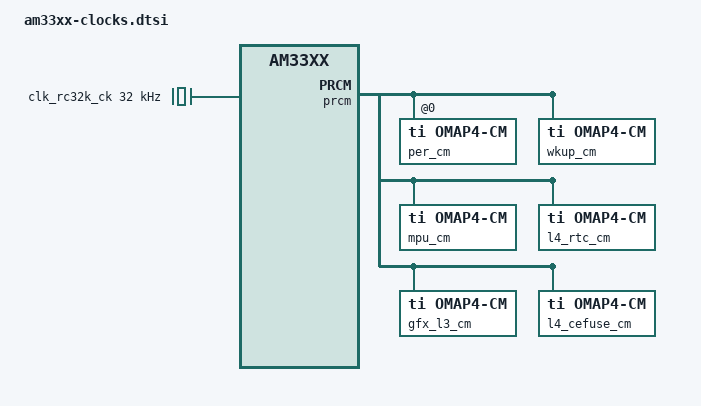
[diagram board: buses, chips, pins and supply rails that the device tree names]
// SPDX-License-Identifier: GPL-2.0-only
/*
 * Device Tree Source for AM33xx clock data
 *
 * Copyright (C) 2013 Texas Instruments, Inc.
 */
&scm_clocks {
	sys_clkin_ck: sys_clkin_ck@40 {
		#clock-cells = <0>;
		compatible = "ti,mux-clock";
		clocks = <&virt_19200000_ck>, <&virt_24000000_ck>, <&virt_25000000_ck>, <&virt_26000000_ck>;
		ti,bit-shift = <22>;
		reg = <0x0040>;
	};

	adc_tsc_fck: adc_tsc_fck {
		#clock-cells = <0>;
		compatible = "fixed-factor-clock";
		clocks = <&sys_clkin_ck>;
		clock-mult = <1>;
		clock-div = <1>;
	};

	dcan0_fck: dcan0_fck {
		#clock-cells = <0>;
		compatible = "fixed-factor-clock";
		clocks = <&sys_clkin_ck>;
		clock-mult = <1>;
		clock-div = <1>;
	};

	dcan1_fck: dcan1_fck {
		#clock-cells = <0>;
		compatible = "fixed-factor-clock";
		clocks = <&sys_clkin_ck>;
		clock-mult = <1>;
		clock-div = <1>;
	};

	mcasp0_fck: mcasp0_fck {
		#clock-cells = <0>;
		compatible = "fixed-factor-clock";
		clocks = <&sys_clkin_ck>;
		clock-mult = <1>;
		clock-div = <1>;
	};

	mcasp1_fck: mcasp1_fck {
		#clock-cells = <0>;
		compatible = "fixed-factor-clock";
		clocks = <&sys_clkin_ck>;
		clock-mult = <1>;
		clock-div = <1>;
	};

	smartreflex0_fck: smartreflex0_fck {
		#clock-cells = <0>;
		compatible = "fixed-factor-clock";
		clocks = <&sys_clkin_ck>;
		clock-mult = <1>;
		clock-div = <1>;
	};

	smartreflex1_fck: smartreflex1_fck {
		#clock-cells = <0>;
		compatible = "fixed-factor-clock";
		clocks = <&sys_clkin_ck>;
		clock-mult = <1>;
		clock-div = <1>;
	};

	sha0_fck: sha0_fck {
		#clock-cells = <0>;
		compatible = "fixed-factor-clock";
		clocks = <&sys_clkin_ck>;
		clock-mult = <1>;
		clock-div = <1>;
	};

	aes0_fck: aes0_fck {
		#clock-cells = <0>;
		compatible = "fixed-factor-clock";
		clocks = <&sys_clkin_ck>;
		clock-mult = <1>;
		clock-div = <1>;
	};

	rng_fck: rng_fck {
		#clock-cells = <0>;
		compatible = "fixed-factor-clock";
		clocks = <&sys_clkin_ck>;
		clock-mult = <1>;
		clock-div = <1>;
	};

	ehrpwm0_tbclk: ehrpwm0_tbclk@44e10664 {
		#clock-cells = <0>;
		compatible = "ti,gate-clock";
		clocks = <&l4ls_gclk>;
		ti,bit-shift = <0>;
		reg = <0x0664>;
	};

	ehrpwm1_tbclk: ehrpwm1_tbclk@44e10664 {
		#clock-cells = <0>;
		compatible = "ti,gate-clock";
		clocks = <&l4ls_gclk>;
		ti,bit-shift = <1>;
		reg = <0x0664>;
	};

	ehrpwm2_tbclk: ehrpwm2_tbclk@44e10664 {
		#clock-cells = <0>;
		compatible = "ti,gate-clock";
		clocks = <&l4ls_gclk>;
		ti,bit-shift = <2>;
		reg = <0x0664>;
	};
};
&prcm_clocks {
	clk_32768_ck: clk_32768_ck {
		#clock-cells = <0>;
		compatible = "fixed-clock";
		clock-frequency = <32768>;
	};

	clk_rc32k_ck: clk_rc32k_ck {
		#clock-cells = <0>;
		compatible = "fixed-clock";
		clock-frequency = <32000>;
	};

	virt_19200000_ck: virt_19200000_ck {
		#clock-cells = <0>;
		compatible = "fixed-clock";
		clock-frequency = <19200000>;
	};

	virt_24000000_ck: virt_24000000_ck {
		#clock-cells = <0>;
		compatible = "fixed-clock";
		clock-frequency = <24000000>;
	};

	virt_25000000_ck: virt_25000000_ck {
		#clock-cells = <0>;
		compatible = "fixed-clock";
		clock-frequency = <25000000>;
	};

	virt_26000000_ck: virt_26000000_ck {
		#clock-cells = <0>;
		compatible = "fixed-clock";
		clock-frequency = <26000000>;
	};

	tclkin_ck: tclkin_ck {
		#clock-cells = <0>;
		compatible = "fixed-clock";
		clock-frequency = <12000000>;
	};

	dpll_core_ck: dpll_core_ck@490 {
		#clock-cells = <0>;
		compatible = "ti,am3-dpll-core-clock";
		clocks = <&sys_clkin_ck>, <&sys_clkin_ck>;
		reg = <0x0490>, <0x045c>, <0x0468>, <0x0460>, <0x0464>;
	};

	dpll_core_x2_ck: dpll_core_x2_ck {
		#clock-cells = <0>;
		compatible = "ti,am3-dpll-x2-clock";
		clocks = <&dpll_core_ck>;
	};

	dpll_core_m4_ck: dpll_core_m4_ck@480 {
		#clock-cells = <0>;
		compatible = "ti,divider-clock";
		clocks = <&dpll_core_x2_ck>;
		ti,max-div = <31>;
		reg = <0x0480>;
		ti,index-starts-at-one;
	};

	dpll_core_m5_ck: dpll_core_m5_ck@484 {
		#clock-cells = <0>;
		compatible = "ti,divider-clock";
		clocks = <&dpll_core_x2_ck>;
		ti,max-div = <31>;
		reg = <0x0484>;
		ti,index-starts-at-one;
	};

	dpll_core_m6_ck: dpll_core_m6_ck@4d8 {
		#clock-cells = <0>;
		compatible = "ti,divider-clock";
		clocks = <&dpll_core_x2_ck>;
		ti,max-div = <31>;
		reg = <0x04d8>;
		ti,index-starts-at-one;
	};

	dpll_mpu_ck: dpll_mpu_ck@488 {
		#clock-cells = <0>;
		compatible = "ti,am3-dpll-clock";
		clocks = <&sys_clkin_ck>, <&sys_clkin_ck>;
		reg = <0x0488>, <0x0420>, <0x042c>, <0x0424>, <0x0428>;
	};

	dpll_mpu_m2_ck: dpll_mpu_m2_ck@4a8 {
		#clock-cells = <0>;
		compatible = "ti,divider-clock";
		clocks = <&dpll_mpu_ck>;
		ti,max-div = <31>;
		reg = <0x04a8>;
		ti,index-starts-at-one;
	};

	dpll_ddr_ck: dpll_ddr_ck@494 {
		#clock-cells = <0>;
		compatible = "ti,am3-dpll-no-gate-clock";
		clocks = <&sys_clkin_ck>, <&sys_clkin_ck>;
		reg = <0x0494>, <0x0434>, <0x0440>, <0x0438>, <0x043c>;
	};

	dpll_ddr_m2_ck: dpll_ddr_m2_ck@4a0 {
		#clock-cells = <0>;
		compatible = "ti,divider-clock";
		clocks = <&dpll_ddr_ck>;
		ti,max-div = <31>;
		reg = <0x04a0>;
		ti,index-starts-at-one;
	};

	dpll_ddr_m2_div2_ck: dpll_ddr_m2_div2_ck {
		#clock-cells = <0>;
		compatible = "fixed-factor-clock";
		clocks = <&dpll_ddr_m2_ck>;
		clock-mult = <1>;
		clock-div = <2>;
	};

	dpll_disp_ck: dpll_disp_ck@498 {
		#clock-cells = <0>;
		compatible = "ti,am3-dpll-no-gate-clock";
		clocks = <&sys_clkin_ck>, <&sys_clkin_ck>;
		reg = <0x0498>, <0x0448>, <0x0454>, <0x044c>, <0x0450>;
	};

	dpll_disp_m2_ck: dpll_disp_m2_ck@4a4 {
		#clock-cells = <0>;
		compatible = "ti,divider-clock";
		clocks = <&dpll_disp_ck>;
		ti,max-div = <31>;
		reg = <0x04a4>;
		ti,index-starts-at-one;
		ti,set-rate-parent;
	};

	dpll_per_ck: dpll_per_ck@48c {
		#clock-cells = <0>;
		compatible = "ti,am3-dpll-no-gate-j-type-clock";
		clocks = <&sys_clkin_ck>, <&sys_clkin_ck>;
		reg = <0x048c>, <0x0470>, <0x049c>, <0x0474>, <0x0478>;
	};

	dpll_per_m2_ck: dpll_per_m2_ck@4ac {
		#clock-cells = <0>;
		compatible = "ti,divider-clock";
		clocks = <&dpll_per_ck>;
		ti,max-div = <31>;
		reg = <0x04ac>;
		ti,index-starts-at-one;
	};

	dpll_per_m2_div4_wkupdm_ck: dpll_per_m2_div4_wkupdm_ck {
		#clock-cells = <0>;
		compatible = "fixed-factor-clock";
		clocks = <&dpll_per_m2_ck>;
		clock-mult = <1>;
		clock-div = <4>;
	};

	dpll_per_m2_div4_ck: dpll_per_m2_div4_ck {
		#clock-cells = <0>;
		compatible = "fixed-factor-clock";
		clocks = <&dpll_per_m2_ck>;
		clock-mult = <1>;
		clock-div = <4>;
	};

	clk_24mhz: clk_24mhz {
		#clock-cells = <0>;
		compatible = "fixed-factor-clock";
		clocks = <&dpll_per_m2_ck>;
		clock-mult = <1>;
		clock-div = <8>;
	};

	clkdiv32k_ck: clkdiv32k_ck {
		#clock-cells = <0>;
		compatible = "fixed-factor-clock";
		clocks = <&clk_24mhz>;
		clock-mult = <1>;
		clock-div = <732>;
	};

	l3_gclk: l3_gclk {
		#clock-cells = <0>;
		compatible = "fixed-factor-clock";
		clocks = <&dpll_core_m4_ck>;
		clock-mult = <1>;
		clock-div = <1>;
	};

	pruss_ocp_gclk: pruss_ocp_gclk@530 {
		#clock-cells = <0>;
		compatible = "ti,mux-clock";
		clocks = <&l3_gclk>, <&dpll_disp_m2_ck>;
		reg = <0x0530>;
	};

	mmu_fck: mmu_fck@914 {
		#clock-cells = <0>;
		compatible = "ti,gate-clock";
		clocks = <&dpll_core_m4_ck>;
		ti,bit-shift = <1>;
		reg = <0x0914>;
	};

	timer1_fck: timer1_fck@528 {
		#clock-cells = <0>;
		compatible = "ti,mux-clock";
		clocks = <&sys_clkin_ck>, <&clk_24mhz_clkctrl AM3_CLK_24MHZ_CLKDIV32K_CLKCTRL 0>, <&tclkin_ck>, <&clk_rc32k_ck>, <&clk_32768_ck>;
		reg = <0x0528>;
	};

	timer2_fck: timer2_fck@508 {
		#clock-cells = <0>;
		compatible = "ti,mux-clock";
		clocks = <&tclkin_ck>, <&sys_clkin_ck>, <&clk_24mhz_clkctrl AM3_CLK_24MHZ_CLKDIV32K_CLKCTRL 0>;
		reg = <0x0508>;
	};

	timer3_fck: timer3_fck@50c {
		#clock-cells = <0>;
		compatible = "ti,mux-clock";
		clocks = <&tclkin_ck>, <&sys_clkin_ck>, <&clk_24mhz_clkctrl AM3_CLK_24MHZ_CLKDIV32K_CLKCTRL 0>;
		reg = <0x050c>;
	};

	timer4_fck: timer4_fck@510 {
		#clock-cells = <0>;
		compatible = "ti,mux-clock";
		clocks = <&tclkin_ck>, <&sys_clkin_ck>, <&clk_24mhz_clkctrl AM3_CLK_24MHZ_CLKDIV32K_CLKCTRL 0>;
		reg = <0x0510>;
	};

	timer5_fck: timer5_fck@518 {
		#clock-cells = <0>;
		compatible = "ti,mux-clock";
		clocks = <&tclkin_ck>, <&sys_clkin_ck>, <&clk_24mhz_clkctrl AM3_CLK_24MHZ_CLKDIV32K_CLKCTRL 0>;
		reg = <0x0518>;
	};

	timer6_fck: timer6_fck@51c {
		#clock-cells = <0>;
		compatible = "ti,mux-clock";
		clocks = <&tclkin_ck>, <&sys_clkin_ck>, <&clk_24mhz_clkctrl AM3_CLK_24MHZ_CLKDIV32K_CLKCTRL 0>;
		reg = <0x051c>;
	};

	timer7_fck: timer7_fck@504 {
		#clock-cells = <0>;
		compatible = "ti,mux-clock";
		clocks = <&tclkin_ck>, <&sys_clkin_ck>, <&clk_24mhz_clkctrl AM3_CLK_24MHZ_CLKDIV32K_CLKCTRL 0>;
		reg = <0x0504>;
	};

	usbotg_fck: usbotg_fck@47c {
		#clock-cells = <0>;
		compatible = "ti,gate-clock";
		clocks = <&dpll_per_ck>;
		ti,bit-shift = <8>;
		reg = <0x047c>;
	};

	dpll_core_m4_div2_ck: dpll_core_m4_div2_ck {
		#clock-cells = <0>;
		compatible = "fixed-factor-clock";
		clocks = <&dpll_core_m4_ck>;
		clock-mult = <1>;
		clock-div = <2>;
	};

	ieee5000_fck: ieee5000_fck@e4 {
		#clock-cells = <0>;
		compatible = "ti,gate-clock";
		clocks = <&dpll_core_m4_div2_ck>;
		ti,bit-shift = <1>;
		reg = <0x00e4>;
	};

	wdt1_fck: wdt1_fck@538 {
		#clock-cells = <0>;
		compatible = "ti,mux-clock";
		clocks = <&clk_rc32k_ck>, <&clk_24mhz_clkctrl AM3_CLK_24MHZ_CLKDIV32K_CLKCTRL 0>;
		reg = <0x0538>;
	};

	l4_rtc_gclk: l4_rtc_gclk {
		#clock-cells = <0>;
		compatible = "fixed-factor-clock";
		clocks = <&dpll_core_m4_ck>;
		clock-mult = <1>;
		clock-div = <2>;
	};

	l4hs_gclk: l4hs_gclk {
		#clock-cells = <0>;
		compatible = "fixed-factor-clock";
		clocks = <&dpll_core_m4_ck>;
		clock-mult = <1>;
		clock-div = <1>;
	};

	l3s_gclk: l3s_gclk {
		#clock-cells = <0>;
		compatible = "fixed-factor-clock";
		clocks = <&dpll_core_m4_div2_ck>;
		clock-mult = <1>;
		clock-div = <1>;
	};

	l4fw_gclk: l4fw_gclk {
		#clock-cells = <0>;
		compatible = "fixed-factor-clock";
		clocks = <&dpll_core_m4_div2_ck>;
		clock-mult = <1>;
		clock-div = <1>;
	};

	l4ls_gclk: l4ls_gclk {
		#clock-cells = <0>;
		compatible = "fixed-factor-clock";
		clocks = <&dpll_core_m4_div2_ck>;
		clock-mult = <1>;
		clock-div = <1>;
	};

	sysclk_div_ck: sysclk_div_ck {
		#clock-cells = <0>;
		compatible = "fixed-factor-clock";
		clocks = <&dpll_core_m4_ck>;
		clock-mult = <1>;
		clock-div = <1>;
	};

	cpsw_125mhz_gclk: cpsw_125mhz_gclk {
		#clock-cells = <0>;
		compatible = "fixed-factor-clock";
		clocks = <&dpll_core_m5_ck>;
		clock-mult = <1>;
		clock-div = <2>;
	};

	cpsw_cpts_rft_clk: cpsw_cpts_rft_clk@520 {
		#clock-cells = <0>;
		compatible = "ti,mux-clock";
		clocks = <&dpll_core_m5_ck>, <&dpll_core_m4_ck>;
		reg = <0x0520>;
	};

	gpio0_dbclk_mux_ck: gpio0_dbclk_mux_ck@53c {
		#clock-cells = <0>;
		compatible = "ti,mux-clock";
		clocks = <&clk_rc32k_ck>, <&clk_32768_ck>, <&clk_24mhz_clkctrl AM3_CLK_24MHZ_CLKDIV32K_CLKCTRL 0>;
		reg = <0x053c>;
	};

	lcd_gclk: lcd_gclk@534 {
		#clock-cells = <0>;
		compatible = "ti,mux-clock";
		clocks = <&dpll_disp_m2_ck>, <&dpll_core_m5_ck>, <&dpll_per_m2_ck>;
		reg = <0x0534>;
		ti,set-rate-parent;
	};

	mmc_clk: mmc_clk {
		#clock-cells = <0>;
		compatible = "fixed-factor-clock";
		clocks = <&dpll_per_m2_ck>;
		clock-mult = <1>;
		clock-div = <2>;
	};

	gfx_fclk_clksel_ck: gfx_fclk_clksel_ck@52c {
		#clock-cells = <0>;
		compatible = "ti,mux-clock";
		clocks = <&dpll_core_m4_ck>, <&dpll_per_m2_ck>;
		ti,bit-shift = <1>;
		reg = <0x052c>;
	};

	gfx_fck_div_ck: gfx_fck_div_ck@52c {
		#clock-cells = <0>;
		compatible = "ti,divider-clock";
		clocks = <&gfx_fclk_clksel_ck>;
		reg = <0x052c>;
		ti,max-div = <2>;
	};

	sysclkout_pre_ck: sysclkout_pre_ck@700 {
		#clock-cells = <0>;
		compatible = "ti,mux-clock";
		clocks = <&clk_32768_ck>, <&l3_gclk>, <&dpll_ddr_m2_ck>, <&dpll_per_m2_ck>, <&lcd_gclk>;
		reg = <0x0700>;
	};

	clkout2_div_ck: clkout2_div_ck@700 {
		#clock-cells = <0>;
		compatible = "ti,divider-clock";
		clocks = <&sysclkout_pre_ck>;
		ti,bit-shift = <3>;
		ti,max-div = <8>;
		reg = <0x0700>;
	};

	clkout2_ck: clkout2_ck@700 {
		#clock-cells = <0>;
		compatible = "ti,gate-clock";
		clocks = <&clkout2_div_ck>;
		ti,bit-shift = <7>;
		reg = <0x0700>;
	};
};

&prcm {
	per_cm: per-cm@0 {
		compatible = "ti,omap4-cm";
		reg = <0x0 0x400>;
		#address-cells = <1>;
		#size-cells = <1>;
		ranges = <0 0x0 0x400>;

		l4ls_clkctrl: l4ls-clkctrl@38 {
			compatible = "ti,clkctrl";
			reg = <0x38 0x2c>, <0x6c 0x28>, <0xac 0xc>, <0xc0 0x1c>, <0xec 0xc>, <0x10c 0x8>, <0x130 0x4>;
			#clock-cells = <2>;
		};

		l3s_clkctrl: l3s-clkctrl@1c {
			compatible = "ti,clkctrl";
			reg = <0x1c 0x4>, <0x30 0x8>, <0x68 0x4>, <0xf8 0x4>;
			#clock-cells = <2>;
		};

		l3_clkctrl: l3-clkctrl@24 {
			compatible = "ti,clkctrl";
			reg = <0x24 0xc>, <0x94 0x10>, <0xbc 0x4>, <0xdc 0x8>, <0xfc 0x8>;
			#clock-cells = <2>;
		};

		l4hs_clkctrl: l4hs-clkctrl@120 {
			compatible = "ti,clkctrl";
			reg = <0x120 0x4>;
			#clock-cells = <2>;
		};

		pruss_ocp_clkctrl: pruss-ocp-clkctrl@e8 {
			compatible = "ti,clkctrl";
			reg = <0xe8 0x4>;
			#clock-cells = <2>;
		};

		cpsw_125mhz_clkctrl: cpsw-125mhz-clkctrl@0 {
			compatible = "ti,clkctrl";
			reg = <0x0 0x18>;
			#clock-cells = <2>;
		};

		lcdc_clkctrl: lcdc-clkctrl@18 {
			compatible = "ti,clkctrl";
			reg = <0x18 0x4>;
			#clock-cells = <2>;
		};

		clk_24mhz_clkctrl: clk-24mhz-clkctrl@14c {
			compatible = "ti,clkctrl";
			reg = <0x14c 0x4>;
			#clock-cells = <2>;
		};
	};

	wkup_cm: wkup-cm@400 {
		compatible = "ti,omap4-cm";
		reg = <0x400 0x100>;
		#address-cells = <1>;
		#size-cells = <1>;
		ranges = <0 0x400 0x100>;

		l4_wkup_clkctrl: l4-wkup-clkctrl@0 {
			compatible = "ti,clkctrl";
			reg = <0x0 0x10>, <0xb4 0x24>;
			#clock-cells = <2>;
		};

		l3_aon_clkctrl: l3-aon-clkctrl@14 {
			compatible = "ti,clkctrl";
			reg = <0x14 0x4>;
			#clock-cells = <2>;
		};

		l4_wkup_aon_clkctrl: l4-wkup-aon-clkctrl@b0 {
			compatible = "ti,clkctrl";
			reg = <0xb0 0x4>;
			#clock-cells = <2>;
		};
	};

	mpu_cm: mpu-cm@600 {
		compatible = "ti,omap4-cm";
		reg = <0x600 0x100>;
		#address-cells = <1>;
		#size-cells = <1>;
		ranges = <0 0x600 0x100>;

		mpu_clkctrl: mpu-clkctrl@0 {
			compatible = "ti,clkctrl";
			reg = <0x0 0x8>;
			#clock-cells = <2>;
		};
	};

	l4_rtc_cm: l4-rtc-cm@800 {
		compatible = "ti,omap4-cm";
		reg = <0x800 0x100>;
		#address-cells = <1>;
		#size-cells = <1>;
		ranges = <0 0x800 0x100>;

		l4_rtc_clkctrl: l4-rtc-clkctrl@0 {
			compatible = "ti,clkctrl";
			reg = <0x0 0x4>;
			#clock-cells = <2>;
		};
	};

	gfx_l3_cm: gfx-l3-cm@900 {
		compatible = "ti,omap4-cm";
		reg = <0x900 0x100>;
		#address-cells = <1>;
		#size-cells = <1>;
		ranges = <0 0x900 0x100>;

		gfx_l3_clkctrl: gfx-l3-clkctrl@0 {
			compatible = "ti,clkctrl";
			reg = <0x0 0x8>;
			#clock-cells = <2>;
		};
	};

	l4_cefuse_cm: l4-cefuse-cm@a00 {
		compatible = "ti,omap4-cm";
		reg = <0xa00 0x100>;
		#address-cells = <1>;
		#size-cells = <1>;
		ranges = <0 0xa00 0x100>;

		l4_cefuse_clkctrl: l4-cefuse-clkctrl@0 {
			compatible = "ti,clkctrl";
			reg = <0x0 0x24>;
			#clock-cells = <2>;
		};
	};
};
